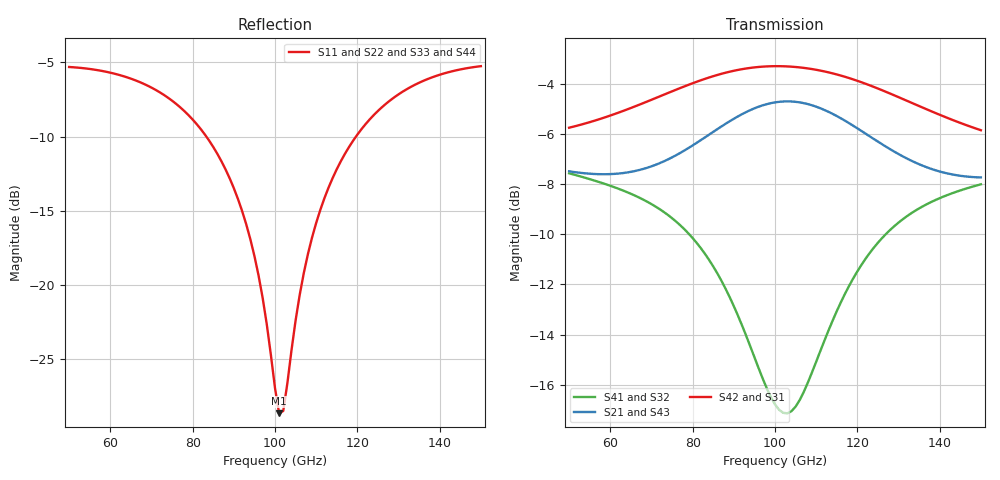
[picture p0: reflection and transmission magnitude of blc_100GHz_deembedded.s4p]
! Created with skrf 2.2.0 (http://scikit-rf.org).
# GHz S DB R 50.0
! Port[1] = P1
! Port[2] = P2
! Port[3] = P3
! Port[4] = P4
!freq dBS11 angS11 dBS12 angS12 dBS13 angS13
! dBS14 angS14
! dBS21 angS21 dBS22 angS22 dBS23 angS23
! dBS24 angS24
! dBS31 angS31 dBS32 angS32 dBS33 angS33
! dBS34 angS34
! dBS41 angS41 dBS42 angS42 dBS43 angS43
! dBS44 angS44
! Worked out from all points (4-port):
!   101 points, 50 GHz to 150 GHz, reference 50 ohm
!   strongest paths, dB at 50 GHz, 75 GHz, 100 GHz, 125 GHz, 150 GHz:
!     S42: -5.8, -4.3, -3.3, -4.2, -5.9
!     S31: -5.7, -4.3, -3.3, -4.2, -5.9
!     S21: -7.5, -6.9, -4.7, -6.3, -7.7
!     S43: -7.5, -6.9, -4.7, -6.3, -7.7
!     S41: -7.6, -9.4, -16.8, -10.3, -8.0
!     S32: -7.6, -9.4, -16.8, -10.3, -8.0
!   lowest |S11| = -28.6 dB at 101 GHz (marker M1), VSWR 1.08, Z = 53.8 + j0.84 ohm
!   |S11| at or under -10 dB: 83.31 GHz to 119.7 GHz (36.37 GHz wide, 35.8 % of centre)
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50  -5.32 159.2  -7.49 -46.8  -5.75 -79.7  -7.57 -62.0
    -7.49 -46.8  -5.32 159.2  -7.57 -62.0  -5.75 -79.7
    -5.75 -79.7  -7.57 -62.0  -5.32 159.2  -7.49 -46.8
    -7.57 -62.0  -5.75 -79.7  -7.49 -46.8  -5.32 159.2
85  -10.70 110.4  -5.92 -67.7  -3.70 -143.7  -11.28 -107.9
    -5.92 -67.7  -10.69 110.2  -11.29 -108.0  -3.70 -143.7
    -3.70 -143.7  -11.29 -108.0  -10.69 110.2  -5.92 -67.7
    -11.28 -107.9  -3.70 -143.7  -5.92 -67.7  -10.69 110.4
94  -16.90 87.3  -5.05 -79.7  -3.36 -163.8  -14.47 -112.5
    -5.05 -79.7  -16.85 86.8  -14.50 -112.7  -3.36 -163.8
    -3.36 -163.8  -14.50 -112.7  -16.86 86.6  -5.05 -79.7
    -14.47 -112.5  -3.36 -163.8  -5.05 -79.7  -16.88 87.2
101  -28.63 12.2  -4.72 -91.3  -3.30 -179.8  -17.00 -98.2
     -4.72 -91.3  -28.27 12.3  -17.06 -98.2  -3.30 -179.8
     -3.30 -179.8  -17.06 -98.2  -28.23 11.8  -4.72 -91.3
     -17.00 -98.2  -3.30 -179.8  -4.72 -91.3  -28.55 12.4
109  -16.80 -89.7  -4.86 -104.9  -3.41 161.9  -15.50 -74.3
     -4.86 -104.9  -16.80 -89.0  -15.54 -74.0  -3.41 161.9
     -3.41 161.9  -15.54 -74.0  -16.77 -89.0  -4.86 -104.9
     -15.50 -74.3  -3.41 161.9  -4.86 -104.9  -16.80 -89.6
117  -11.16 -110.1  -5.47 -117.0  -3.72 144.1  -12.37 -73.1
     -5.47 -117.0  -11.16 -109.8  -12.39 -72.8  -3.72 144.1
     -3.72 144.1  -12.39 -72.8  -11.15 -109.8  -5.47 -116.9
     -12.37 -73.1  -3.72 144.1  -5.47 -116.9  -11.16 -110.1
150  -5.27 -157.6  -7.73 -141.0  -5.85 82.0  -8.01 -115.8
     -7.73 -141.0  -5.27 -157.4  -8.01 -115.7  -5.85 82.0
     -5.85 82.0  -8.01 -115.7  -5.27 -157.5  -7.73 -140.9
     -8.01 -115.8  -5.85 82.0  -7.73 -140.9  -5.27 -157.6
